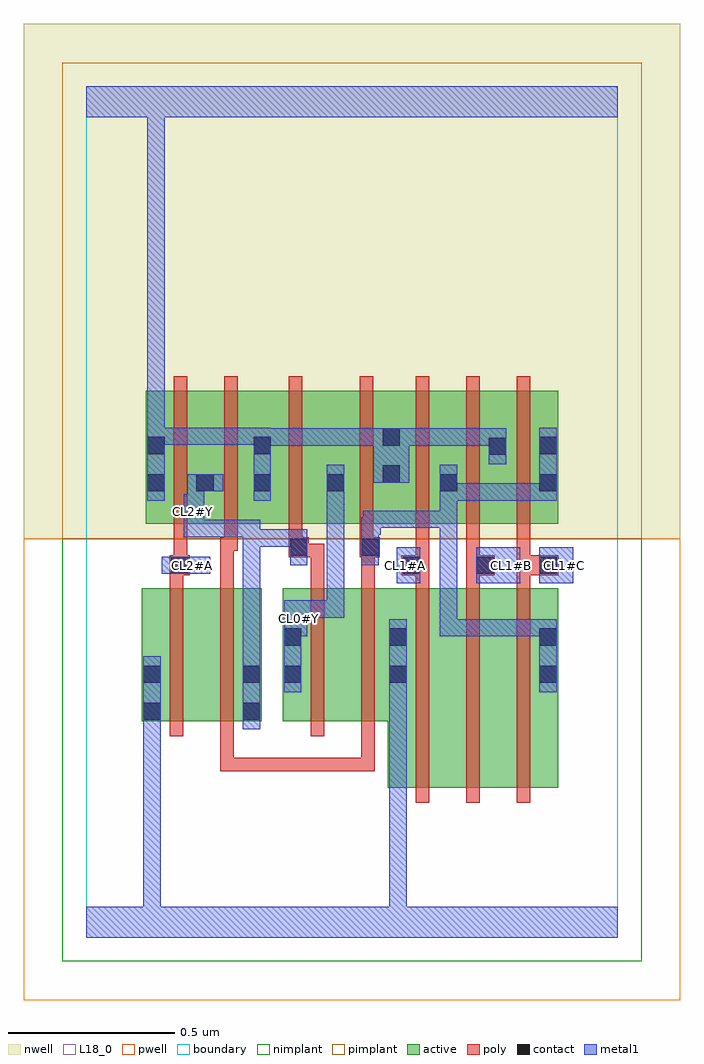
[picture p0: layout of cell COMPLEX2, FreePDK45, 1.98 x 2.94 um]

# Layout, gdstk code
import gdstk
lib = gdstk.Library(unit=1e-6, precision=1e-09)
def R(c, l, rs):  # rectangles x0, y0, x1, y1
    for r in rs: c.add(gdstk.rectangle(r[:2], r[2:], *l))
def A(c, l, x, y, w, h, nx, ny, dx, dy):  # array of equal rectangles
    R(c, l, [(x+i*dx, y+j*dy, x+i*dx+w, y+j*dy+h) for i in range(nx) for j in range(ny)])
active = (1, 0)
pwell = (2, 0)
nwell = (3, 0)
nimplant = (4, 0)
pimplant = (5, 0)
poly = (9, 0)
contact = (10, 0)
metal1 = (11, 0)
L18_0 = (18, 0)
boundary = (235, 0)

complex2 = lib.new_cell('COMPLEX2')
R(complex2, active, [(0.908,0.45,1.088,1.05), (0.908,0.45,0.968,0.934), (1.088,0.45,1.24,1.05), (1.24,0.45,1.42,1.05), (1.36,0.45,1.42,1.05), (0.168,0.65,0.348,1.05), (0.168,0.65,0.228,1.05), (0.348,0.65,0.528,1.05), (0.468,0.65,0.528,1.05), (0.592,0.65,0.772,1.05), (0.592,0.65,0.652,1.05), (0.772,0.65,0.968,1.05), (0.18,1.244,0.24,1.644), (0.18,1.244,0.388,1.644), (0.328,1.244,0.56,1.644), (0.5,1.244,0.78,1.644), (0.72,1.244,0.948,1.644), (0.888,1.244,1.12,1.644), (1.06,1.244,1.268,1.644), (1.208,1.244,1.42,1.644), (1.36,1.244,1.42,1.644), (0.328,1.338,0.388,1.644), (0.5,1.338,0.56,1.644), (0.72,1.338,0.78,1.644), (1.06,1.338,1.12,1.644), (0.888,1.364,0.948,1.644), (1.208,1.448,1.268,1.644)])
R(complex2, pwell, [(-0.188,-0.188,1.788,1.2)])
R(complex2, nwell, [(-0.188,1.2,1.788,2.748)])
R(complex2, nimplant, [(-0.072,-0.072,1.672,1.2)])
R(complex2, pimplant, [(-0.072,1.2,1.672,2.632)])
A(complex2, poly, 0.992, 0.406, 0.04, 0.688, 3, 1, 0.152, 0)
A(complex2, poly, 0.992, 1.054, 0.04, 0.076, 3, 1, 0.152, 0)
A(complex2, poly, 0.992, 1.11, 0.04, 0.13, 3, 1, 0.152, 0)
A(complex2, poly, 0.992, 1.2, 0.04, 0.488, 3, 1, 0.152, 0)
R(complex2, poly, [(0.404,0.5,0.444,0.54), (0.404,0.5,0.444,0.54), (0.404,0.5,0.444,0.54), (0.404,0.5,0.444,0.646), (0.404,0.5,0.55,0.54), (0.51,0.5,0.55,0.54), (0.51,0.5,0.55,0.54), (0.51,0.5,0.55,0.54), (0.51,0.5,0.868,0.54), (0.828,0.5,0.868,0.54), (0.828,0.5,0.868,0.54), (0.828,0.5,0.868,0.54), (0.828,0.5,0.868,0.646), (0.252,0.606,0.292,1.094), (0.404,0.606,0.444,1.094), (0.676,0.606,0.716,1.094), (0.828,0.606,0.868,1.094), (0.252,1.054,0.292,1.13), (0.404,1.054,0.444,1.204), (0.676,1.054,0.716,1.184), (0.828,1.054,0.868,1.184), (0.252,1.09,0.312,1.15), (0.95,1.09,1.032,1.15), (1.144,1.09,1.184,1.13), (1.144,1.09,1.184,1.13), (1.144,1.09,1.23,1.15), (1.296,1.09,1.336,1.13), (1.296,1.09,1.336,1.13), (1.296,1.09,1.42,1.15), (0.264,1.11,0.304,1.24), (0.264,1.11,0.304,1.15), (0.264,1.11,0.304,1.15), (0.992,1.11,1.032,1.15), (0.992,1.11,1.032,1.15), (0.61,1.144,0.67,1.204), (0.63,1.144,0.67,1.184), (0.63,1.144,0.716,1.184), (0.824,1.144,0.884,1.204), (0.828,1.144,0.868,1.184), (0.828,1.144,0.868,1.184), (0.404,1.164,0.444,1.204), (0.404,1.164,0.444,1.204), (0.404,1.164,0.456,1.204), (0.416,1.164,0.456,1.24), (0.61,1.164,0.65,1.24), (0.824,1.164,0.864,1.24), (0.264,1.2,0.304,1.688), (0.416,1.2,0.456,1.688), (0.61,1.2,0.65,1.688), (0.824,1.2,0.864,1.688)])
R(complex2, contact, [(0.172,0.654,0.224,0.706), (0.472,0.654,0.524,0.706), (0.172,0.766,0.224,0.818), (0.472,0.766,0.524,0.818), (0.596,0.766,0.648,0.818), (0.912,0.766,0.964,0.818), (1.364,0.766,1.416,0.818), (0.596,0.878,0.648,0.93), (0.912,0.878,0.964,0.93), (1.364,0.878,1.416,0.93), (0.256,1.094,0.308,1.146), (0.954,1.094,1.006,1.146), (1.174,1.094,1.226,1.146), (1.364,1.094,1.416,1.146), (0.614,1.148,0.666,1.2), (0.828,1.148,0.88,1.2), (0.184,1.342,0.236,1.394), (0.332,1.342,0.384,1.394), (0.504,1.342,0.556,1.394), (0.724,1.342,0.776,1.394), (1.064,1.342,1.116,1.394), (1.364,1.342,1.416,1.394), (0.892,1.368,0.944,1.42), (1.212,1.452,1.264,1.504), (0.184,1.454,0.236,1.506), (0.504,1.454,0.556,1.506), (1.364,1.454,1.416,1.506), (0.892,1.48,0.944,1.532)])
R(complex2, metal1, [(0,0,1.6,0.092), (0.172,0.04,0.224,0.092), (0.172,0.04,0.224,0.092), (0.172,0.04,0.224,0.092), (0.172,0.04,0.224,0.092), (0.172,0.04,0.224,0.092), (0.172,0.04,0.224,0.092), (0.172,0.04,0.224,0.092), (0.172,0.04,0.224,0.092), (0.172,0.04,0.224,0.678), (0.912,0.04,0.964,0.092), (0.912,0.04,0.964,0.092), (0.912,0.04,0.964,0.092), (0.912,0.04,0.964,0.092), (0.912,0.04,0.964,0.092), (0.912,0.04,0.964,0.092), (0.912,0.04,0.964,0.092), (0.912,0.04,0.964,0.092), (0.912,0.04,0.964,0.79), (0.172,0.626,0.224,0.678), (0.172,0.626,0.224,0.678), (0.172,0.626,0.224,0.678), (0.172,0.626,0.224,0.678), (0.172,0.626,0.224,0.846), (0.472,0.626,0.524,0.846), (0.596,0.738,0.648,0.958), (0.912,0.738,0.964,0.958), (1.364,0.738,1.416,0.958), (0.472,0.794,0.524,0.846), (0.472,0.794,0.524,0.846), (0.472,0.794,0.524,1.228), (0.596,0.906,0.648,0.958), (0.596,0.906,0.666,1.014), (1.064,0.906,1.116,0.958), (1.064,0.906,1.306,0.958), (1.064,0.906,1.116,1.284), (1.254,0.906,1.306,0.958), (1.254,0.906,1.306,0.958), (1.254,0.906,1.306,0.958), (1.254,0.906,1.416,0.958), (1.364,0.906,1.416,0.958), (1.364,0.906,1.416,0.958), (1.364,0.906,1.416,0.958), (1.364,0.906,1.416,0.958), (0.614,0.962,0.666,1.014), (0.614,0.962,0.666,1.014), (0.614,0.962,0.776,1.014), (0.724,0.962,0.776,1.014), (0.724,0.962,0.776,1.366), (0.934,1.066,1.006,1.174), (1.174,1.066,1.306,1.174), (1.364,1.066,1.466,1.174), (0.228,1.094,0.374,1.146), (0.614,1.12,0.666,1.228), (0.828,1.12,0.88,1.264), (0.472,1.176,0.666,1.228), (0.472,1.176,0.524,1.256), (0.614,1.176,0.666,1.228), (0.614,1.176,0.666,1.228), (0.294,1.204,0.356,1.334), (0.304,1.204,0.356,1.256), (0.304,1.204,0.356,1.256), (0.304,1.204,0.524,1.256), (0.828,1.212,0.886,1.264), (0.834,1.212,0.886,1.284), (0.834,1.232,1.116,1.284), (1.064,1.232,1.116,1.284), (1.064,1.232,1.116,1.284), (1.064,1.232,1.116,1.284), (1.064,1.232,1.116,1.366), (0.304,1.282,0.356,1.394), (0.184,1.314,0.236,1.534), (0.504,1.314,0.556,1.534), (0.724,1.314,0.776,1.366), (0.724,1.314,0.776,1.366), (0.724,1.314,0.776,1.422), (1.064,1.314,1.116,1.422), (1.064,1.314,1.306,1.366), (1.254,1.314,1.306,1.366), (1.254,1.314,1.306,1.366), (1.254,1.314,1.306,1.366), (1.254,1.314,1.416,1.366), (1.364,1.314,1.416,1.366), (1.364,1.314,1.416,1.366), (1.364,1.314,1.416,1.534), (0.304,1.342,0.412,1.394), (0.864,1.368,0.972,1.532), (1.212,1.424,1.264,1.532), (0.504,1.48,0.556,1.532), (0.504,1.48,0.556,1.532), (0.504,1.48,0.766,1.532), (0.714,1.48,0.766,1.532), (0.714,1.48,0.776,1.532), (0.724,1.48,0.776,1.532), (0.724,1.48,0.876,1.532), (0.824,1.48,0.876,1.532), (0.824,1.48,0.916,1.532), (0.92,1.48,1.082,1.532), (1.03,1.48,1.082,1.532), (1.03,1.48,1.082,1.532), (1.03,1.48,1.082,1.532), (1.03,1.48,1.264,1.532), (1.212,1.48,1.264,1.532), (1.212,1.48,1.264,1.532), (0.184,1.482,0.236,1.534), (0.184,1.482,0.236,1.534), (0.184,1.482,0.414,1.534), (0.184,1.482,0.236,2.52), (0.362,1.482,0.414,1.534), (0.362,1.482,0.414,1.534), (0.362,1.482,0.414,1.534), (0.362,1.482,0.556,1.534), (0,2.468,1.6,2.56), (0.184,2.468,0.236,2.52), (0.184,2.468,0.236,2.52), (0.184,2.468,0.236,2.52), (0.184,2.468,0.236,2.52), (0.184,2.468,0.236,2.52), (0.184,2.468,0.236,2.52), (0.184,2.468,0.236,2.52), (0.184,2.468,0.236,2.52), (0.184,2.468,0.236,2.52), (0.184,2.468,0.236,2.52), (0.184,2.468,0.236,2.52), (0.184,2.468,0.236,2.52), (0.184,2.468,0.236,2.52), (0.184,2.468,0.236,2.52), (0.184,2.468,0.236,2.52), (0.184,2.468,0.236,2.52)])
R(complex2, L18_0, [(0,0,1.6,0.092), (0.172,0.04,0.224,0.092), (0.172,0.04,0.224,0.092), (0.172,0.04,0.224,0.092), (0.172,0.04,0.224,0.092), (0.172,0.04,0.224,0.092), (0.172,0.04,0.224,0.092), (0.172,0.04,0.224,0.092), (0.172,0.04,0.224,0.092), (0.172,0.04,0.224,0.678), (0.912,0.04,0.964,0.092), (0.912,0.04,0.964,0.092), (0.912,0.04,0.964,0.092), (0.912,0.04,0.964,0.092), (0.912,0.04,0.964,0.092), (0.912,0.04,0.964,0.092), (0.912,0.04,0.964,0.092), (0.912,0.04,0.964,0.092), (0.912,0.04,0.964,0.79), (0.172,0.626,0.224,0.678), (0.172,0.626,0.224,0.678), (0.172,0.626,0.224,0.678), (0.172,0.626,0.224,0.678), (0.172,0.626,0.224,0.846), (0.472,0.626,0.524,0.846), (0.596,0.738,0.648,0.958), (0.912,0.738,0.964,0.958), (0.472,0.794,0.524,0.846), (0.472,0.794,0.524,0.846), (0.472,0.794,0.524,1.228), (0.596,0.906,0.648,0.958), (0.596,0.906,0.666,1.014), (0.614,0.934,0.666,0.986), (0.614,0.962,0.666,1.014), (0.614,0.962,0.666,1.014), (0.614,0.962,0.776,1.014), (0.724,0.962,0.776,1.014), (0.724,0.962,0.776,1.366), (0.934,1.066,1.006,1.174), (1.174,1.066,1.306,1.174), (1.364,1.066,1.466,1.174), (0.228,1.094,0.374,1.146), (0.294,1.094,0.346,1.146), (0.934,1.094,0.986,1.146), (1.254,1.094,1.306,1.146), (1.414,1.094,1.466,1.146), (0.614,1.12,0.666,1.228), (0.472,1.176,0.524,1.256), (0.472,1.176,0.666,1.228), (0.614,1.176,0.666,1.228), (0.614,1.176,0.666,1.228), (0.294,1.204,0.356,1.334), (0.304,1.204,0.356,1.256), (0.304,1.204,0.356,1.256), (0.304,1.204,0.524,1.256), (0.294,1.254,0.346,1.306), (0.304,1.282,0.356,1.394), (0.184,1.314,0.236,1.534), (0.504,1.314,0.556,1.534), (0.724,1.314,0.776,1.366), (0.724,1.314,0.776,1.366), (0.724,1.314,0.776,1.422), (0.304,1.342,0.412,1.394), (0.864,1.368,0.972,1.532), (1.212,1.424,1.264,1.532), (0.504,1.48,0.556,1.532), (0.504,1.48,0.556,1.532), (0.504,1.48,0.766,1.532), (0.714,1.48,0.766,1.532), (0.714,1.48,0.776,1.532), (0.724,1.48,0.776,1.532), (0.724,1.48,0.876,1.532), (0.824,1.48,0.876,1.532), (0.824,1.48,0.916,1.532), (0.92,1.48,1.082,1.532), (1.03,1.48,1.082,1.532), (1.03,1.48,1.082,1.532), (1.03,1.48,1.082,1.532), (1.03,1.48,1.264,1.532), (1.212,1.48,1.264,1.532), (1.212,1.48,1.264,1.532), (0.184,1.482,0.236,1.534), (0.184,1.482,0.236,1.534), (0.184,1.482,0.236,2.52), (0.184,1.482,0.414,1.534), (0.362,1.482,0.414,1.534), (0.362,1.482,0.414,1.534), (0.362,1.482,0.414,1.534), (0.362,1.482,0.556,1.534), (0,2.468,1.6,2.56), (0.184,2.468,0.236,2.52), (0.184,2.468,0.236,2.52), (0.184,2.468,0.236,2.52), (0.184,2.468,0.236,2.52), (0.184,2.468,0.236,2.52), (0.184,2.468,0.236,2.52), (0.184,2.468,0.236,2.52), (0.184,2.468,0.236,2.52), (0.184,2.468,0.236,2.52), (0.184,2.468,0.236,2.52), (0.184,2.468,0.236,2.52), (0.184,2.468,0.236,2.52), (0.184,2.468,0.236,2.52), (0.184,2.468,0.236,2.52), (0.184,2.468,0.236,2.52), (0.184,2.468,0.236,2.52)])
R(complex2, boundary, [(0,0,1.6,2.56)])
complex2.add(gdstk.Label('CL0#Y', (0.64,0.96), layer=11, texttype=0))
complex2.add(gdstk.Label('CL1#A', (0.96,1.12), layer=11, texttype=0))
complex2.add(gdstk.Label('CL1#B', (1.28,1.12), layer=11, texttype=0))
complex2.add(gdstk.Label('CL1#C', (1.44,1.12), layer=11, texttype=0))
complex2.add(gdstk.Label('CL2#A', (0.32,1.12), layer=11, texttype=0))
complex2.add(gdstk.Label('CL2#Y', (0.32,1.28), layer=11, texttype=0))

lib.write_gds('COMPLEX2.gds')
